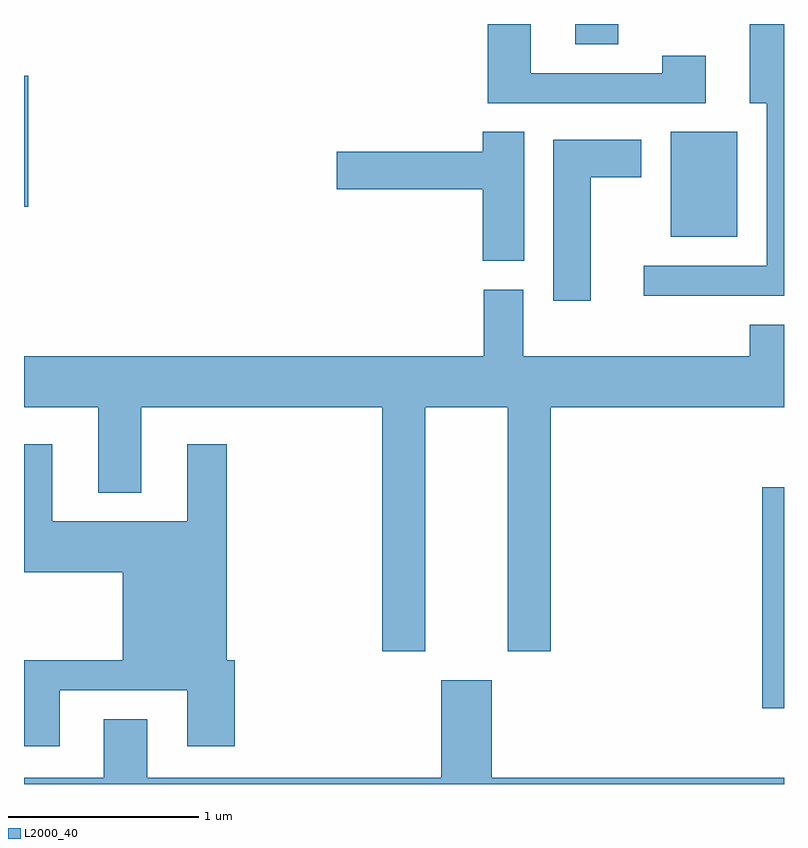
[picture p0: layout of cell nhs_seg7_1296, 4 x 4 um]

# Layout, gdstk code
import gdstk
lib = gdstk.Library(unit=1e-6, precision=1e-09)
def R(c, l, rs):  # rectangles x0, y0, x1, y1
    for r in rs: c.add(gdstk.rectangle(r[:2], r[2:], *l))
def P(c, l, *ps):  # polygons
    for p in ps: c.add(gdstk.Polygon(p, *l))
L2000_40 = (2000, 40)

nhs_seg7_1296 = lib.new_cell('nhs_seg7_1296')
R(nhs_seg7_1296, L2000_40, [(227.496,1792.651,227.611,1793.814), (227.016,1795.131,227.364,1795.684), (223.611,1795.291,223.634,1795.979), (226.511,1796.146,226.739,1796.252)])
P(nhs_seg7_1296, L2000_40, [(227.199,1796.084),(226.971,1796.084),(226.971,1795.994),(226.279,1795.994),(226.279,1796.252),(226.051,1796.252),(226.051,1795.836),(227.199,1795.836)],
  [(227.611,1796.252),(227.431,1796.252),(227.431,1795.836),(227.521,1795.836),(227.521,1794.979),(226.873,1794.979),(226.873,1794.821),(227.611,1794.821)],
  [(226.244,1795.684),(226.026,1795.684),(226.026,1795.579),(225.256,1795.579),(225.256,1795.381),(226.026,1795.381),(226.026,1795.006),(226.244,1795.006)],
  [(226.594,1795.446),(226.859,1795.446),(226.859,1795.644),(226.396,1795.644),(226.396,1794.796),(226.594,1794.796)],
  [(225.724,1794.236),(226.156,1794.236),(226.156,1792.951),(226.384,1792.951),(226.384,1794.236),(227.611,1794.236),(227.611,1794.669),(227.431,1794.669),(227.431,1794.504),(226.239,1794.504),(226.239,1794.854),(226.031,1794.854),(226.031,1794.504),(223.611,1794.504),(223.611,1794.236),(224.001,1794.236),(224.001,1793.786),(224.229,1793.786),(224.229,1794.236),(225.496,1794.236),(225.496,1792.951),(225.724,1792.951)],
  [(223.799,1792.746),(224.471,1792.746),(224.471,1792.451),(224.719,1792.451),(224.719,1792.904),(224.679,1792.904),(224.679,1794.039),(224.471,1794.039),(224.471,1793.634),(223.759,1793.634),(223.759,1794.039),(223.611,1794.039),(223.611,1793.366),(224.131,1793.366),(224.131,1792.904),(223.611,1792.904),(223.611,1792.451),(223.799,1792.451)],
  [(227.611,1792.284),(226.074,1792.284),(226.074,1792.799),(225.806,1792.799),(225.806,1792.284),(224.259,1792.284),(224.259,1792.594),(224.031,1792.594),(224.031,1792.284),(223.611,1792.284),(223.611,1792.252),(227.611,1792.252)])

lib.write_gds('nhs_seg7_1296.gds')
